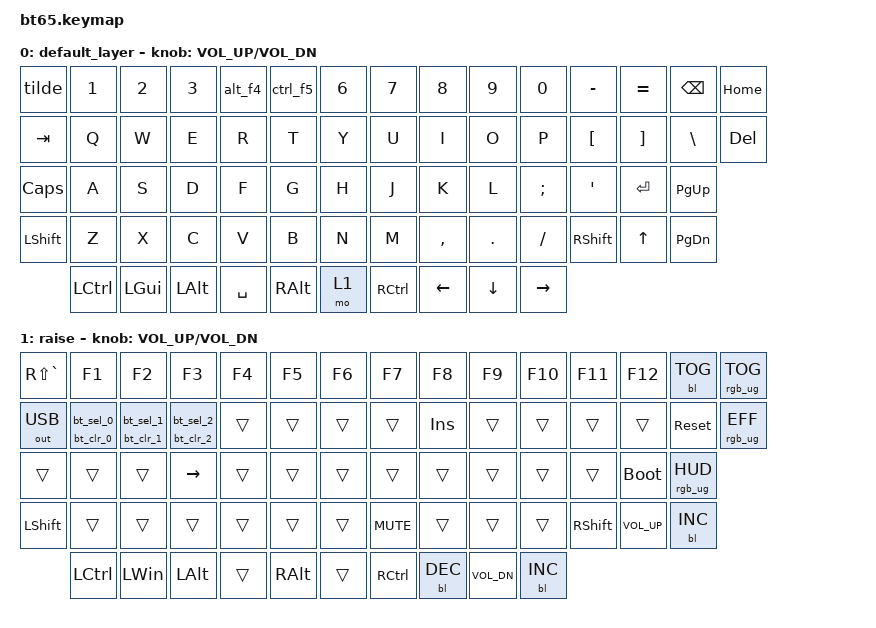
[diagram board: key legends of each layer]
#include <behaviors.dtsi>
#include <dt-bindings/zmk/backlight.h>
#include <dt-bindings/zmk/bt.h>
#include <dt-bindings/zmk/keys.h>
#include <dt-bindings/zmk/outputs.h>
#include <dt-bindings/zmk/rgb.h>

/ {
    combos { compatible = "zmk,combos"; };

    behaviors {
        tilde: tilde {
            compatible = "zmk,behavior-mod-morph";
            label = "TILDE";
            bindings = <&kp ESC>, <&kp TILDE>;

            #binding-cells = <0>;
            mods = <(MOD_RSFT)>;
        };

        alt_f4: alt_f4 {
            compatible = "zmk,behavior-mod-morph";
            label = "ALT_F4";
            bindings = <&kp NUMBER_4>, <&kp LA(F4)>;

            #binding-cells = <0>;
            mods = <(MOD_LALT)>;
        };

        ctrl_f5: ctrl_f5 {
            compatible = "zmk,behavior-mod-morph";
            label = "CTRL_F5";
            bindings = <&kp NUMBER_5>, <&kp LC(F5)>;

            #binding-cells = <0>;
            mods = <(MOD_LCTL)>;
        };

        bt_00: bt_00 {
            compatible = "zmk,behavior-hold-tap";
            label = "BT_00";
            bindings = <&bt_clr_0>, <&bt_sel_0>;

            #binding-cells = <2>;
            tapping-term-ms = <3000>;
        };

        bt_01: bt_01 {
            compatible = "zmk,behavior-hold-tap";
            label = "BT_01";
            bindings = <&bt_clr_1>, <&bt_sel_1>;

            #binding-cells = <2>;
            tapping-term-ms = <3000>;
        };

        bt_02: bt_02 {
            compatible = "zmk,behavior-hold-tap";
            label = "BT_02";
            bindings = <&bt_clr_2>, <&bt_sel_2>;

            #binding-cells = <2>;
            tapping-term-ms = <3000>;
        };
    };

    macros {
        bt_sel_0: bt_sel_0 {
            compatible = "zmk,behavior-macro";
            #binding-cells = <0>;
            bindings = <&out OUT_BLE &bt BT_SEL 0>;
            label = "BT_SEL_0";
        };

        bt_sel_1: bt_sel_1 {
            compatible = "zmk,behavior-macro";
            #binding-cells = <0>;
            bindings = <&out OUT_BLE &bt BT_SEL 1>;
            label = "BT_SEL_1";
        };

        bt_sel_2: bt_sel_2 {
            compatible = "zmk,behavior-macro";
            #binding-cells = <0>;
            bindings = <&out OUT_BLE &bt BT_SEL 2>;
            label = "BT_SEL_2";
        };

        bt_clr_0: bt_clr_0 {
            compatible = "zmk,behavior-macro";
            #binding-cells = <0>;
            bindings = <&out OUT_BLE &bt BT_SEL 0 &bt BT_CLR>;
            label = "BT_CLR_0";
        };

        bt_clr_1: bt_clr_1 {
            compatible = "zmk,behavior-macro";
            #binding-cells = <0>;
            bindings = <&out OUT_BLE &bt BT_SEL 1 &bt BT_CLR>;
            label = "BT_CLR_1";
        };

        bt_clr_2: bt_clr_2 {
            compatible = "zmk,behavior-macro";
            #binding-cells = <0>;
            bindings = <&out OUT_BLE &bt BT_SEL 2 &bt BT_CLR>;
            label = "BT_CLR_2";
        };
    };

    keymap {
        compatible = "zmk,keymap";

        default_layer {
            // ------------------------------------------------------------------------------------------------------------
            // |  `  |  1  |  2  |  3  |  4  |  5  |  6  |  7  |  8  |  9  |  0  |  -  |  =  |BKSP | INS		|
            // | TAB  |  Q  |  W  |  E  |  R  |  T  |  Y  |  U  |  I  |  O  |  P  |  [  |  ]  |   \    | DEL		|
            // | CAPS  |  A  |  S  |  D  |  F  |  G  |  H  |  J  |  K  |  L  |  ;  |  '  |     ENTER    |PGUP	|
            // |  SHIFT  |  Z  |  X  |  C  |  V  |  B  |  N  |  M  |  ,  |  .  | /   |   SHIFT  | UP   | PGDN|
            // |  CTL  |  WIN  |  ALT  |            SPACE               | ALT | 1    |  MENU| LEFT |  DOWN    | RIGHT	|
            // ------------------------------------------------------------------------------------------------------------

            bindings = <
&tilde     &kp NUMBER_1  &kp N2    &kp N3    &alt_f4    &ctrl_f5  &kp N6  &kp N7     &kp N8     &kp N9    &kp N0     &kp MINUS   &kp EQUAL  &kp BACKSPACE  &kp HOME
&kp TAB    &kp Q         &kp W     &kp E     &kp R      &kp T     &kp Y   &kp U      &kp I      &kp O     &kp P      &kp LBKT    &kp RBKT   &kp BSLH       &kp DEL
&kp CAPS   &kp A         &kp S     &kp D     &kp F      &kp G     &kp H   &kp J      &kp K      &kp L     &kp SEMI   &kp SQT     &kp RET    &kp PG_UP
&kp LSHFT  &kp Z         &kp X     &kp C     &kp V      &kp B     &kp N   &kp M      &kp COMMA  &kp DOT   &kp FSLH   &kp RSHIFT  &kp UP     &kp PG_DN
           &kp LCTRL     &kp LGUI  &kp LALT  &kp SPACE  &kp RALT  &mo 1   &kp RCTRL  &kp LEFT   &kp DOWN  &kp RIGHT
            >;

            sensor-bindings = <&inc_dec_kp C_VOL_UP C_VOL_DN>;
        };

        raise {
            bindings = <
&kp RS(GRAVE)  &kp F1      &kp F2        &kp F3      &kp F4  &kp F5    &kp F6  &kp F7      &kp F8      &kp F9        &kp F10     &kp F11    &kp F12       &bl BL_TOG       &rgb_ug RGB_TOG
&out OUT_USB   &bt_00 0 0  &bt_01 0 0    &bt_02 0 0  &trans  &trans    &trans  &trans      &kp INS     &trans        &trans      &trans     &trans        &sys_reset       &rgb_ug RGB_EFF
&trans         &trans      &trans        &kp RIGHT   &trans  &trans    &trans  &trans      &trans      &trans        &trans      &trans     &bootloader   &rgb_ug RGB_HUD
&kp LSHFT      &trans      &trans        &trans      &trans  &trans    &trans  &kp C_MUTE  &trans      &trans        &trans      &kp RSHFT  &kp C_VOL_UP  &bl BL_INC
               &kp LCTRL   &kp LEFT_WIN  &kp LALT    &trans  &kp RALT  &trans  &kp RCTRL   &bl BL_DEC  &kp C_VOL_DN  &bl BL_INC
            >;

            sensor-bindings = <&inc_dec_kp C_VOL_UP C_VOL_DN>;
        };
    };
};
